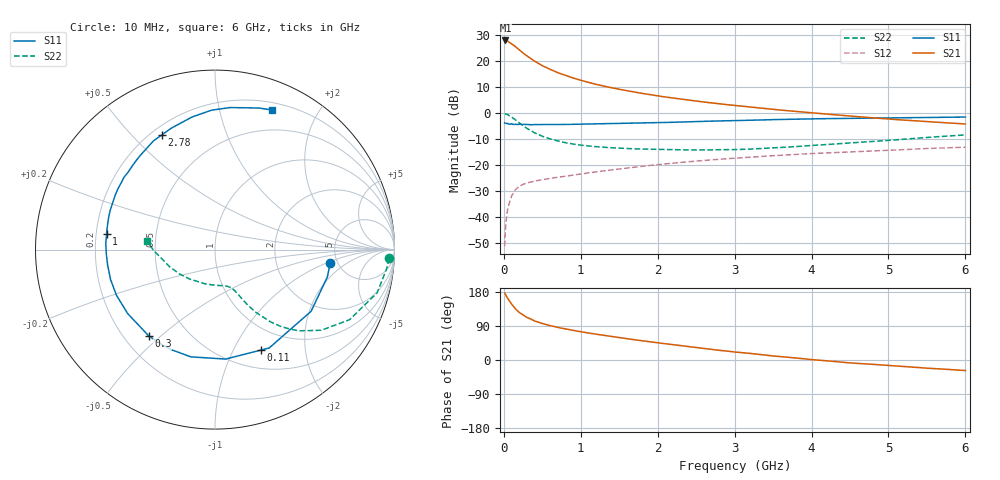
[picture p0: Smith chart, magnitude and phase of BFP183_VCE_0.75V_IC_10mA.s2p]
! Infineon Technologies  Discrete & RF Semiconductors
! BFP183
! VCE = 0.75V,  IC =  10 mA
! Common Emitter S-Parameters:  Jan 2016
# GHz  S  MA  R  50
!  f  S11  S21  S12  S22
! GHz  MAG  ANG  MAG  ANG  MAG  ANG  MAG  ANG
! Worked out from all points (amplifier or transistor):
!   210 points, 10 MHz to 6 GHz, reference 50 ohm
!   highest |S21| = 27.9 dB at 20 MHz (marker M1)
!   |S21| within 3 dB of that: start of sweep to 175.4 MHz
!   unconditionally stable (mu >= 1): 964.7 MHz to end of sweep
!   at 185 MHz: K = 0.28, MSG = 26.6 dB, |S12| = -28.5 dB
!   at 1.52 GHz: K = 1.18, MAG = 12.6 dB, |S12| = -21.4 dB
!   at 6 GHz: K = 1.05, MAG = 3.0 dB, |S12| = -13.1 dB
!   S11 on the Smith chart (normalised r, x): 10 MHz: 4.35, -1.11; 110 MHz: 0.71, -1.29; 300 MHz: 0.30, -0.46; 1 GHz: 0.24, +0.07; 2.78 GHz: 0.24, +0.61; 6 GHz: 0.27, +1.45
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0.01  0.646 -6.6  24.68 176.7  0.0028 83.9  0.9719 -2.9
0.02  0.6443 -13.7  24.74 173.3  0.0057 83.5  0.9636 -6.0
0.05  0.6362 -32.7  24.07 162.5  0.0142 76.9  0.9352 -14.9
0.1  0.6258 -61.1  21.45 147.5  0.0254 62.9  0.8454 -27.5
0.11  0.6151 -65.6  20.85 145.3  0.027 60.9  0.8232 -29.2
0.15  0.6128 -84.4  18.85 135.0  0.0337 54.8  0.7431 -37.2
0.2  0.6126 -102.7  16.35 125.5  0.0394 48.9  0.6494 -44.2
0.24  0.6082 -113.4  14.57 119.8  0.0423 45.1  0.5881 -47.9
0.3  0.6061 -127.6  12.48 112.3  0.0457 41.4  0.509 -52.4
0.4  0.6031 -143.8  9.905 102.8  0.0497 38.2  0.4179 -56.9
0.5  0.6051 -155.1  8.111 96.2  0.0529 37.1  0.3596 -59.4
0.6  0.6053 -164.1  6.924 90.7  0.056 36.9  0.3201 -61.0
0.7  0.6044 -171.7  5.958 85.9  0.0587 37.4  0.2911 -62.1
1  0.6109 171.6  4.251 74.5  0.0676 38.7  0.2428 -65.4
1.02  0.6113 170.6  4.176 73.9  0.0683 38.8  0.241 -65.7
1.5  0.6327 151.8  2.863 58.9  0.0846 40.2  0.2124 -72.7
2.02  0.6556 134.7  2.115 44.9  0.1034 39.0  0.2011 -84.2
2.78  0.7049 114.9  1.521 26.0  0.1295 34.8  0.1985 -106.5
3.1  0.7234 107.7  1.352 19.4  0.1397 32.7  0.2014 -117.4
4.1  0.7798 89.9  0.984 -0.5  0.1698 24.9  0.2441 -148.3
5.1  0.8104 77.1  0.751 -15.7  0.1959 18.0  0.3071 -172.1
6  0.84 67.8  0.618 -27.8  0.2216 10.0  0.3814 172.4
